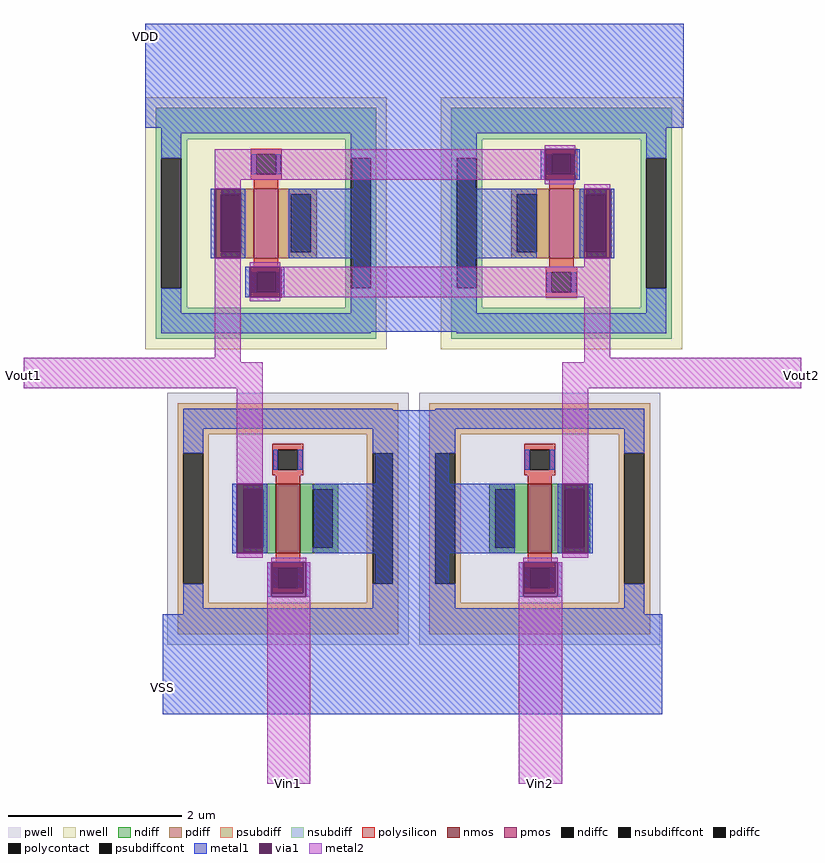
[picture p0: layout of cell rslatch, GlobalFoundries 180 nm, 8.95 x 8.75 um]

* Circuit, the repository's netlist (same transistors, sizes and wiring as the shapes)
** sch_path: /foss/designs/comparator/rslatch.sch
**.subckt rslatch VDD Vout1 Vout2 Vin1 Vin2 VSS
*.iopin VDD
*.iopin VSS
*.iopin Vin1
*.iopin Vin2
*.iopin Vout1
*.iopin Vout2
XM1 Vout1 Vin1 VSS VSS nfet_03v3 L=0.28u W=0.8u nf=1 ad='int((nf+1)/2) * W/nf * 0.18u' as='int((nf+2)/2) * W/nf * 0.18u' pd='2*int((nf+1)/2) * (W/nf + 0.18u)'
+ ps='2*int((nf+2)/2) * (W/nf + 0.18u)' nrd='0.18u / W' nrs='0.18u / W' sa=0 sb=0 sd=0 m=1
XM2 Vout2 Vin2 VSS VSS nfet_03v3 L=0.28u W=0.8u nf=1 ad='int((nf+1)/2) * W/nf * 0.18u' as='int((nf+2)/2) * W/nf * 0.18u' pd='2*int((nf+1)/2) * (W/nf + 0.18u)'
+ ps='2*int((nf+2)/2) * (W/nf + 0.18u)' nrd='0.18u / W' nrs='0.18u / W' sa=0 sb=0 sd=0 m=1
XM3 Vout1 Vout2 VDD VDD pfet_03v3 L=0.28u W=0.8u nf=1 ad='int((nf+1)/2) * W/nf * 0.18u' as='int((nf+2)/2) * W/nf * 0.18u' pd='2*int((nf+1)/2) * (W/nf + 0.18u)'
+ ps='2*int((nf+2)/2) * (W/nf + 0.18u)' nrd='0.18u / W' nrs='0.18u / W' sa=0 sb=0 sd=0 m=1
XM4 Vout2 Vout1 VDD VDD pfet_03v3 L=0.28u W=0.8u nf=1 ad='int((nf+1)/2) * W/nf * 0.18u' as='int((nf+2)/2) * W/nf * 0.18u' pd='2*int((nf+1)/2) * (W/nf + 0.18u)'
+ ps='2*int((nf+2)/2) * (W/nf + 0.18u)' nrd='0.18u / W' nrs='0.18u / W' sa=0 sb=0 sd=0 m=1
**.ends
.end

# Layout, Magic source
magic
tech gf180mcuD
magscale 1 10
<< metal1 >>
rect 300 270 1540 510
rect 780 130 1060 270
rect 1210 150 1220 220
rect 1290 150 1300 220
rect 450 -30 460 130
rect 520 -30 530 130
rect 630 -30 1200 130
rect 1300 -30 1310 130
rect 1370 -30 1380 130
rect 530 -120 540 -50
rect 610 -120 620 -50
rect 780 -200 1060 -30
rect 830 -550 1000 -380
rect 500 -710 510 -550
rect 570 -710 580 -550
rect 690 -710 1150 -550
rect 1250 -710 1260 -550
rect 1320 -710 1330 -550
rect 580 -810 590 -730
rect 670 -810 680 -730
rect 830 -850 1000 -710
rect 1160 -810 1170 -730
rect 1250 -810 1260 -730
rect 340 -1080 1490 -850
<< via1 >>
rect 1220 150 1290 220
rect 460 -30 520 130
rect 1310 -30 1370 130
rect 540 -120 610 -50
rect 510 -710 570 -550
rect 1260 -710 1320 -550
rect 590 -810 670 -730
rect 1170 -810 1250 -730
<< metal2 >>
rect 1220 220 1290 230
rect 460 150 1220 220
rect 460 130 520 150
rect 1220 140 1290 150
rect 460 -260 520 -30
rect 1310 130 1370 140
rect 540 -50 610 -40
rect 1310 -50 1370 -30
rect 610 -120 1370 -50
rect 540 -130 610 -120
rect 20 -270 520 -260
rect 1310 -260 1370 -120
rect 1310 -270 1810 -260
rect 20 -330 570 -270
rect 510 -550 570 -330
rect 510 -720 570 -710
rect 1260 -330 1810 -270
rect 1260 -550 1320 -330
rect 1260 -720 1320 -710
rect 590 -730 670 -720
rect 1170 -730 1250 -720
rect 580 -810 590 -730
rect 670 -810 680 -730
rect 580 -1240 680 -810
rect 1160 -810 1170 -730
rect 1250 -810 1260 -730
rect 1160 -1240 1260 -810
use nfet_03v3_5QDTWG  XM1
transform 1 0 628 0 1 -630
box -278 -290 278 290
use nfet_03v3_5QDTWG  XM2
transform 1 0 1208 0 1 -630
box -278 -290 278 290
use pfet_03v3_YBHBCY  XM3
transform 1 0 578 0 1 50
box -278 -290 278 290
use pfet_03v3_YBHBCY  XM4
transform 1 0 1258 0 1 50
box -278 -290 278 290
<< labels >>
rlabel metal1 300 480 300 480 1 VDD
port 0 n
rlabel metal1 340 -1020 340 -1020 1 VSS
port 1 n
rlabel metal2 630 -1240 630 -1240 5 Vin1
port 2 s
rlabel metal2 1210 -1240 1210 -1240 5 Vin2
port 3 s
rlabel metal2 20 -300 20 -300 7 Vout1
port 4 w
rlabel metal2 1810 -300 1810 -300 3 Vout2
port 5 e
<< end >>

# cell nfet_03v3_5QDTWG: kit device nfet_03v3, w 0.8 l 0.28 m 1 nf 1 diffcov 100 polycov 100 guard 1 glc 1 grc 1 gtc 0 gbc 0 tbcov 100 rlcov 100 topc 1 botc 1 poverlap 0 doverlap 1 lmin 0.28 wmin 0.22 class mosfet full_metal 1 compatible {nfet_03v3 nfet_06v0 nfet_06v0_nvt} ad {int((nf+1)/2) * W/nf * 0.18u} as {int((nf+2)/2) * W/nf * 0.18u} pd {2*int((nf+1)/2) * (W/nf + 0.18u)} ps {2*int((nf+2)/2) * (W/nf + 0.18u)} nrd {0.18u / W} nrs {0.18u / W} sa 0 sb 0 sd 0

# cell pfet_03v3_YBHBCY: kit device pfet_03v3, w 0.8 l 0.28 m 1 nf 1 diffcov 100 polycov 100 guard 1 glc 1 grc 1 gtc 0 gbc 0 tbcov 100 rlcov 100 topc 1 botc 1 poverlap 0 doverlap 1 lmin 0.28 wmin 0.22 class mosfet full_metal 1 compatible {pfet_03v3 pfet_06v0} ad {int((nf+1)/2) * W/nf * 0.18u} as {int((nf+2)/2) * W/nf * 0.18u} pd {2*int((nf+1)/2) * (W/nf + 0.18u)} ps {2*int((nf+2)/2) * (W/nf + 0.18u)} nrd {0.18u / W} nrs {0.18u / W} sa 0 sb 0 sd 0
